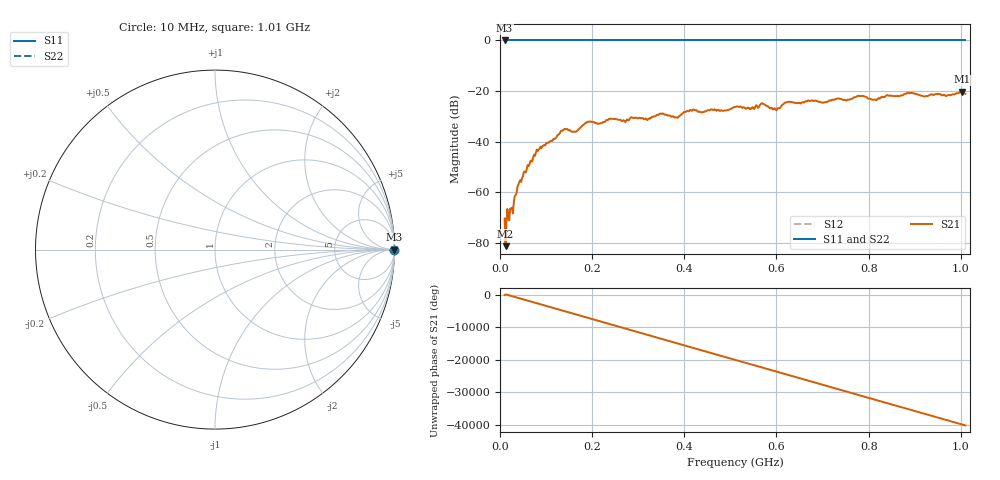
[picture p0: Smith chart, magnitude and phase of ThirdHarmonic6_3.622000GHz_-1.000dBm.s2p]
! 8/17/2025 12:07:40 PM
! C:\ANRITSUVNA\TEMP\TEMP.S2P
! CHANNEL.1
! TR.MEASUREMENT
! RAW.DATA
! RF.CORRECTION.OFF
! AVERAGING.OFF
! IF.BANDWIDTH: 5KHZ
! SWEEPTYPE:  FREQ.SWEEP(Linear)
! Reference Plane Port Info
! PORT:  PORT1  PORT2
! DISTANCE:  0  m  0  m
! TIME:  0  s  0  s
! PHASE.OFFSET:  0  deg.  0  deg.
! LOSS:  0  dB  0  dB
! REF.LOSS:  0  dB  0  dB
! REF.FREQ:  0  Hz  0  Hz
! Power Info
! POWER:  -20  dBm  -20  dBm
! EFF.POWER:  -20  dBm  -20  dBm
! SOURCE.ATTEN:  0  dB  0  dB
! TEST.ATTEN:  0  dB  0  dB
# GHZ S RI R 50.0
! FREQ.GHZ  S11RE  S11IM  S21RE  S21IM  S12RE  S12IM  S22RE  S22IM
!; PortSelection: Port_12
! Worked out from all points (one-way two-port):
!   501 points, 10 MHz to 1.01 GHz, reference 50 ohm
!   highest |S21| = -20.27 dB at 1.002 GHz (marker M1); lowest = -81.4 dB at 12 MHz (marker M2)
!   lowest |S11| = 0.0 dB at 10 MHz (marker M3)
!   |S11| at or under -10 dB: nowhere
!   |S22| runs from 0.0 to 0.0 dB; largest |S21 - S12| = 1.1
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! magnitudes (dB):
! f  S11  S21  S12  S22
! 10 MHz  0.0  -70.4  0.0  0.0
! 12 MHz  0.0  -81.4  0.0  0.0
! 16 MHz  0.0  -66.7  0.0  0.0
! 18 MHz  0.0  -69.9  0.0  0.0
! 24 MHz  0.0  -66.4  0.0  0.0
! 42 MHz  0.0  -55.9  0.0  0.0
! 82 MHz  0.0  -43.7  0.0  0.0
! 136 MHz  0.0  -35.7  0.0  0.0
! 162 MHz  0.0  -36.1  0.0  0.0
! 178 MHz  0.0  -33.7  0.0  0.0
! 344 MHz  0.0  -29.5  0.0  0.0
! 382 MHz  0.0  -30.4  0.0  0.0
! 416 MHz  0.0  -27.8  0.0  0.0
! 510 MHz  0.0  -26.3  0.0  0.0
! 548 MHz  0.0  -26.4  0.0  0.0
! 570 MHz  0.0  -24.9  0.0  0.0
! 596 MHz  0.0  -26.8  0.0  0.0
! 622 MHz  0.0  -24.4  0.0  0.0
! 678 MHz  0.0  -23.7  0.0  0.0
! 844 MHz  0.0  -21.9  0.0  0.0
! 1.002 GHz  0.0  -20.3  0.0  0.0
! 1.01 GHz  0.0  -21.1  0.0  0.0
